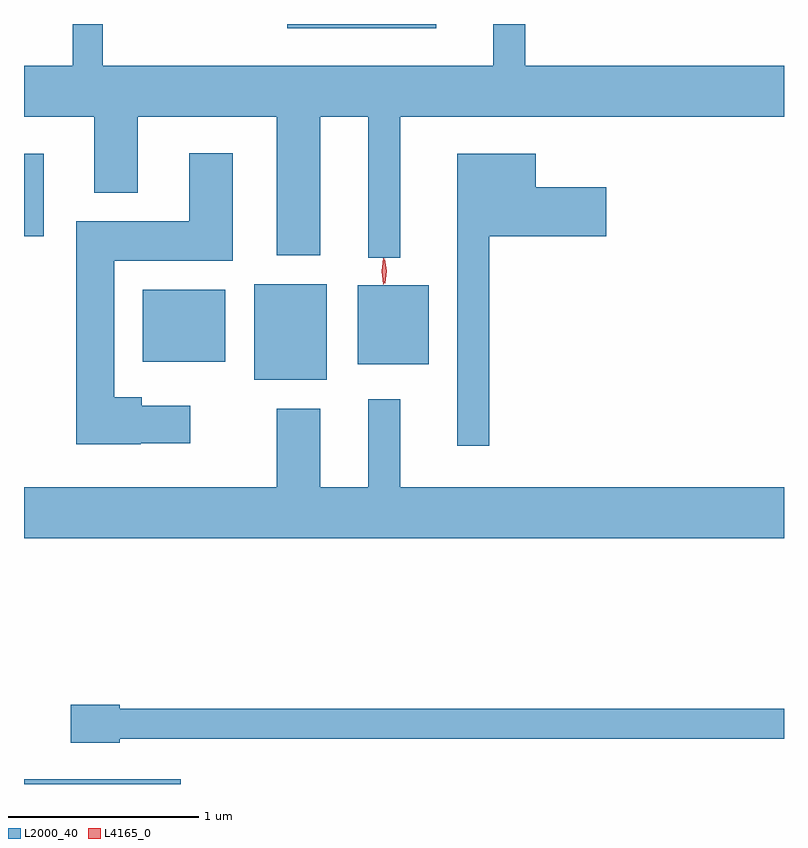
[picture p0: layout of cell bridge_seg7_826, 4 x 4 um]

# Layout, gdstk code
import gdstk
lib = gdstk.Library(unit=1e-6, precision=1e-09)
def R(c, l, rs):  # rectangles x0, y0, x1, y1
    for r in rs: c.add(gdstk.rectangle(r[:2], r[2:], *l))
def P(c, l, *ps):  # polygons
    for p in ps: c.add(gdstk.Polygon(p, *l))
L2000_40 = (2000, 40)
L4165_0 = (4165, 0)

bridge_seg7_826 = lib.new_cell('bridge_seg7_826')
R(bridge_seg7_826, L2000_40, [(270.15,1688.603,270.974,1688.629), (271.361,1690.731,271.744,1691.234), (271.906,1690.811,272.279,1691.229), (270.776,1690.826,271.209,1691.204), (270.15,1691.486,270.254,1691.919), (271.536,1692.581,272.319,1692.603)])
P(bridge_seg7_826, L2000_40, [(272.129,1692.116),(274.15,1692.116),(274.15,1692.384),(272.789,1692.384),(272.789,1692.603),(272.621,1692.603),(272.621,1692.384),(270.564,1692.384),(270.564,1692.603),(270.406,1692.603),(270.406,1692.384),(270.15,1692.384),(270.15,1692.116),(270.521,1692.116),(270.521,1691.716),(270.749,1691.716),(270.749,1692.116),(271.481,1692.116),(271.481,1691.386),(271.709,1691.386),(271.709,1692.116),(271.961,1692.116),(271.961,1691.373),(272.129,1691.373)],
  [(270.765,1690.396),(271.024,1690.396),(271.024,1690.594),(270.769,1690.594),(270.769,1690.639),(270.624,1690.639),(270.624,1691.356),(271.249,1691.356),(271.249,1691.924),(271.021,1691.924),(271.021,1691.564),(270.426,1691.564),(270.426,1690.391),(270.765,1690.391)],
  [(272.599,1691.486),(273.214,1691.486),(273.214,1691.744),(272.844,1691.744),(272.844,1691.919),(272.431,1691.919),(272.431,1690.383),(272.599,1690.383)],
  [(274.15,1690.164),(272.129,1690.164),(272.129,1690.628),(271.961,1690.628),(271.961,1690.164),(271.709,1690.164),(271.709,1690.579),(271.481,1690.579),(271.481,1690.164),(270.15,1690.164),(270.15,1689.896),(274.15,1689.896)],
  [(270.654,1688.841),(274.15,1688.841),(274.15,1688.999),(270.654,1688.999),(270.654,1689.019),(270.396,1689.019),(270.396,1688.821),(270.654,1688.821)])
P(bridge_seg7_826, L4165_0, [(272.042,1691.234),(272.033,1691.302),(272.042,1691.37),(272.043,1691.37),(272.043,1691.37),(272.053,1691.302),(272.043,1691.234),(272.043,1691.234)],
  [(272.049,1691.238),(272.049,1691.238),(272.039,1691.302),(272.048,1691.367),(272.048,1691.367),(272.049,1691.367),(272.059,1691.303),(272.05,1691.238)])

lib.write_gds('bridge_seg7_826.gds')
